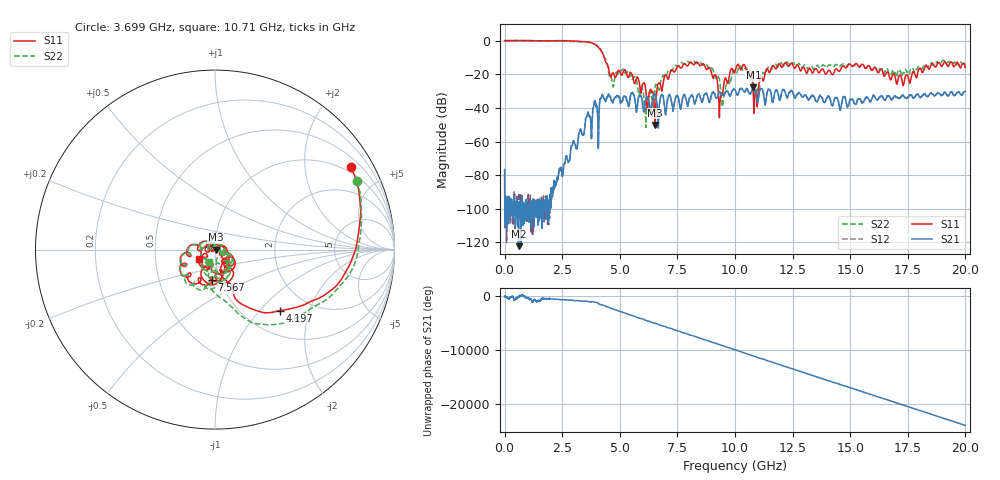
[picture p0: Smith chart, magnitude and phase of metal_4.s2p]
#  HZ  S  RI  R  50.00
! Rohde & Schwarz Vector Network Analyzer
! Rohde-Schwarz,ZNB20-2Port,1311601062102128,3.60
! Created: UTC 4/29/2024, 3:48:37 PM
! freq[Hz]  re:S11  im:S11  re:S21  im:S21  re:S12  im:S12  re:S22  im:S22
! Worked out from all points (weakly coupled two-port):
!   2007 points, 100 kHz to 20 GHz, reference 50 ohm
!   highest |S21| = -27.75 dB at 10.8 GHz (marker M1); lowest = -122.2 dB at 608.3 MHz (marker M2)
!   lowest |S11| = -50.2 dB at 6.53 GHz (marker M3), VSWR 1.01, Z = 50.3 - j0.108 ohm
!   |S11| at or under -10 dB: 4.327 GHz to end of sweep
!   |S22| runs from -51.7 to 0.1 dB; largest |S21 - S12| = 0.0022
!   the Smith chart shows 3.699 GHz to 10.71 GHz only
!   S11 on the Smith chart (normalised r, x): 3.699 GHz: 0.79, +3.38; 4.197 GHz: 1.44, -1.29; 7.567 GHz: 0.91, -0.32; 10.71 GHz: 0.83, -0.09
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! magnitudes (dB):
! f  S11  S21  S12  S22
! 100 kHz  0.0  -76.7  -79.4  0.1
! 608.3 MHz  0.1  -122.2  -107.6  0.0
! 2.243 GHz  0.0  -85.3  -84.8  -0.3
! 3.34 GHz  -0.6  -55.2  -54.9  -0.6
! 3.699 GHz  -1.1  -45.1  -45.1  -1.1
! 4.197 GHz  -6.1  -33.8  -34.2  -6.1
! 4.646 GHz  -20.6  -35.2  -35.4  -22.8
! 5.394 GHz  -21.5  -38.6  -38.7  -17.8
! 6.132 GHz  -29.8  -34.6  -34.6  -51.7
! 6.53 GHz  -50.2  -31.8  -31.9  -28.4
! 6.67 GHz  -25.5  -51.9  -51.8  -27.9
! 7.567 GHz  -15.3  -35.6  -35.7  -14.6
! 8.883 GHz  -16.0  -36.8  -36.7  -17.1
! 9.372 GHz  -33.8  -31.2  -31.2  -28.4
! 10 GHz  -18.5  -29.3  -29.2  -18.0
! 10.71 GHz  -19.6  -30.7  -30.8  -22.6
! 10.8 GHz  -32.4  -27.7  -27.8  -24.8
! 10.91 GHz  -31.9  -31.3  -31.3  -31.3
! 11.66 GHz  -14.8  -35.8  -35.9  -14.9
! 13.34 GHz  -19.1  -32.6  -32.5  -15.2
! 16.67 GHz  -19.9  -32.9  -33.0  -19.5
! 20 GHz  -15.8  -30.2  -30.2  -14.8
